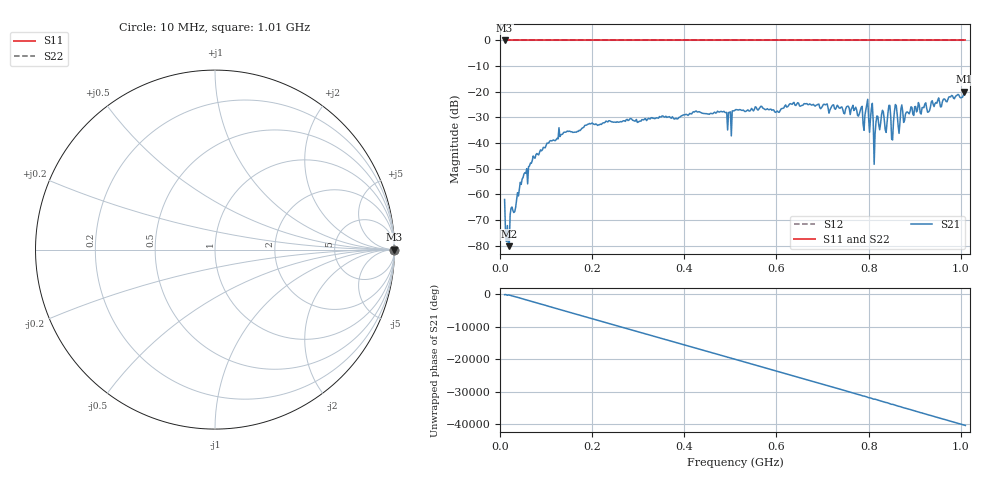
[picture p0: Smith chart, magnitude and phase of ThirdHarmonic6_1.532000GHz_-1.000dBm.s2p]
! 8/16/2025 6:08:21 PM
! C:\ANRITSUVNA\TEMP\TEMP.S2P
! CHANNEL.1
! TR.MEASUREMENT
! RAW.DATA
! RF.CORRECTION.OFF
! AVERAGING.OFF
! IF.BANDWIDTH: 5KHZ
! SWEEPTYPE:  FREQ.SWEEP(Linear)
! Reference Plane Port Info
! PORT:  PORT1  PORT2
! DISTANCE:  0  m  0  m
! TIME:  0  s  0  s
! PHASE.OFFSET:  0  deg.  0  deg.
! LOSS:  0  dB  0  dB
! REF.LOSS:  0  dB  0  dB
! REF.FREQ:  0  Hz  0  Hz
! Power Info
! POWER:  -20  dBm  -20  dBm
! EFF.POWER:  -20  dBm  -20  dBm
! SOURCE.ATTEN:  0  dB  0  dB
! TEST.ATTEN:  0  dB  0  dB
# GHZ S RI R 50.0
! FREQ.GHZ  S11RE  S11IM  S21RE  S21IM  S12RE  S12IM  S22RE  S22IM
!; PortSelection: Port_12
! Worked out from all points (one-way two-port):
!   501 points, 10 MHz to 1.01 GHz, reference 50 ohm
!   highest |S21| = -19.98 dB at 1.008 GHz (marker M1); lowest = -80.1 dB at 20 MHz (marker M2)
!   lowest |S11| = 0.0 dB at 10 MHz (marker M3)
!   |S11| at or under -10 dB: nowhere
!   |S22| runs from 0.0 to 0.0 dB; largest |S21 - S12| = 1.1
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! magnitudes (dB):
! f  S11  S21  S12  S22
! 10 MHz  0.0  -61.9  0.0  0.0
! 16 MHz  0.0  -72.1  0.0  0.0
! 20 MHz  0.0  -80.1  0.0  0.0
! 48 MHz  0.0  -54.0  0.0  0.0
! 76 MHz  0.0  -45.9  0.0  0.0
! 132 MHz  0.0  -36.8  0.0  0.0
! 178 MHz  0.0  -34.2  0.0  0.0
! 344 MHz  0.0  -30.3  0.0  0.0
! 482 MHz  0.0  -27.8  0.0  0.0
! 498 MHz  0.0  -28.0  0.0  0.0
! 510 MHz  0.0  -27.2  0.0  0.0
! 678 MHz  0.0  -25.1  0.0  0.0
! 790 MHz  0.0  -35.0  0.0  0.0
! 796 MHz  0.0  -24.9  0.0  0.0
! 814 MHz  0.0  -36.2  0.0  0.0
! 838 MHz  0.0  -35.8  0.0  0.0
! 844 MHz  0.0  -25.3  0.0  0.0
! 852 MHz  0.0  -38.7  0.0  0.0
! 858 MHz  0.0  -25.0  0.0  0.0
! 866 MHz  0.0  -36.2  0.0  0.0
! 1.008 GHz  0.0  -20.0  0.0  0.0
! 1.01 GHz  0.0  -20.5  0.0  0.0
